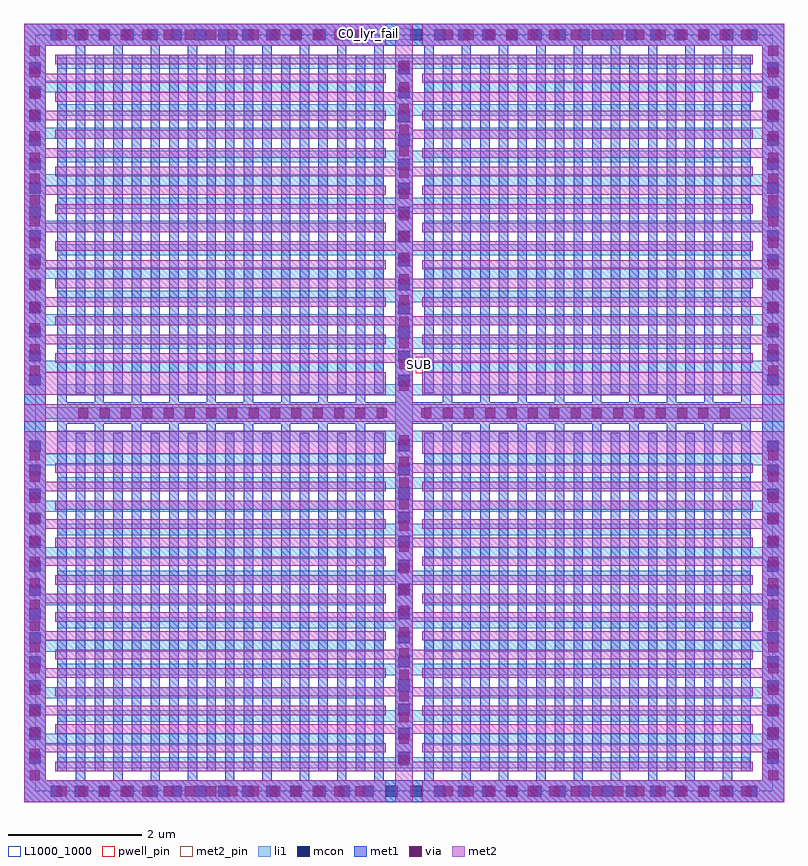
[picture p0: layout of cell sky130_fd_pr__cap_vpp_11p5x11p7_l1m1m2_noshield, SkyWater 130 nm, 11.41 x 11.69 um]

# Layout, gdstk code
import gdstk
lib = gdstk.Library(unit=1e-6, precision=1e-09)
def R(c, l, rs):  # rectangles x0, y0, x1, y1
    for r in rs: c.add(gdstk.rectangle(r[:2], r[2:], *l))
def A(c, l, x, y, w, h, nx, ny, dx, dy):  # array of equal rectangles
    R(c, l, [(x+i*dx, y+j*dy, x+i*dx+w, y+j*dy+h) for i in range(nx) for j in range(ny)])
def P(c, l, *ps):  # polygons
    for p in ps: c.add(gdstk.Polygon(p, *l))
li1 = (67, 20)
mcon = (67, 44)
met1 = (68, 20)
via = (68, 44)
met2_pin = (69, 16)
met2 = (69, 20)
pwell_pin = (122, 16)
L1000_1000 = (1000, 1000)

sky130_fd_pr__cap_vpp_11 = lib.new_cell('sky130_fd_pr__cap_vpp_11p5x11p7_l1m1m2_noshield')
P(sky130_fd_pr__cap_vpp_11, li1, [(0.5,0.51),(0.5,0.68),(5.57,0.68),(5.57,1.21),(0.5,1.21),(0.5,1.38),(5.57,1.38),(5.57,1.91),(0.5,1.91),(0.5,2.08),(5.57,2.08),(5.57,2.61),(0.5,2.61),(0.5,2.78),(5.57,2.78),(5.57,3.31),(0.5,3.31),(0.5,3.48),(5.57,3.48),(5.57,4.01),(0.5,4.01),(0.5,4.18),(5.57,4.18),(5.57,4.71),(0.5,4.71),(0.5,4.88),(5.57,4.88),(5.57,5.41),(0.5,5.41),(0.5,5.58),(5.57,5.58),(5.57,6.11),(0.5,6.11),(0.5,6.28),(5.57,6.28),(5.57,6.81),(0.5,6.81),(0.5,6.98),(5.57,6.98),(5.57,7.51),(0.5,7.51),(0.5,7.68),(5.57,7.68),(5.57,8.21),(0.5,8.21),(0.5,8.38),(5.57,8.38),(5.57,8.91),(0.5,8.91),(0.5,9.08),(5.57,9.08),(5.57,9.61),(0.5,9.61),(0.5,9.78),(5.57,9.78),(5.57,10.31),(0.5,10.31),(0.5,10.48),(5.57,10.48),(5.57,11.01),(0.5,11.01),(0.5,11.18),(10.905,11.18),(10.905,11.01),(5.84,11.01),(5.84,10.48),(10.905,10.48),(10.905,10.31),(5.84,10.31),(5.84,9.78),(10.905,9.78),(10.905,9.61),(5.84,9.61),(5.84,9.08),(10.905,9.08),(10.905,8.91),(5.84,8.91),(5.84,8.38),(10.905,8.38),(10.905,8.21),(5.84,8.21),(5.84,7.68),(10.905,7.68),(10.905,7.51),(5.84,7.51),(5.84,6.98),(10.905,6.98),(10.905,6.81),(5.84,6.81),(5.84,6.28),(10.905,6.28),(10.905,6.11),(5.84,6.11),(5.84,5.58),(10.905,5.58),(10.905,5.41),(5.84,5.41),(5.84,4.88),(10.905,4.88),(10.905,4.71),(5.84,4.71),(5.84,4.18),(10.905,4.18),(10.905,4.01),(5.84,4.01),(5.84,3.48),(10.905,3.48),(10.905,3.31),(5.84,3.31),(5.84,2.78),(10.905,2.78),(10.905,2.61),(5.84,2.61),(5.84,2.08),(10.905,2.08),(10.905,1.91),(5.84,1.91),(5.84,1.38),(10.905,1.38),(10.905,1.21),(5.84,1.21),(5.84,0.68),(10.905,0.68),(10.905,0.51)],
  [(0,0),(0,11.69),(11.08,11.69),(11.08,11.36),(0.33,11.36),(0.33,10.83),(5.4,10.83),(5.4,10.66),(0.33,10.66),(0.33,10.13),(5.4,10.13),(5.4,9.96),(0.33,9.96),(0.33,9.43),(5.4,9.43),(5.4,9.26),(0.33,9.26),(0.33,8.73),(5.4,8.73),(5.4,8.56),(0.33,8.56),(0.33,8.03),(5.4,8.03),(5.4,7.86),(0.33,7.86),(0.33,7.33),(5.4,7.33),(5.4,7.16),(0.33,7.16),(0.33,6.63),(5.4,6.63),(5.4,6.46),(0.33,6.46),(0.33,5.93),(5.4,5.93),(5.4,5.76),(0.33,5.76),(0.33,5.23),(5.4,5.23),(5.4,5.06),(0.33,5.06),(0.33,4.53),(5.4,4.53),(5.4,4.36),(0.33,4.36),(0.33,3.83),(5.4,3.83),(5.4,3.66),(0.33,3.66),(0.33,3.13),(5.4,3.13),(5.4,2.96),(0.33,2.96),(0.33,2.43),(5.4,2.43),(5.4,2.26),(0.33,2.26),(0.33,1.73),(5.4,1.73),(5.4,1.56),(0.33,1.56),(0.33,1.03),(5.4,1.03),(5.4,0.86),(0.33,0.86),(0.33,0.33),(11.08,0.33),(11.08,0.86),(6.01,0.86),(6.01,1.03),(11.08,1.03),(11.08,1.56),(6.01,1.56),(6.01,1.73),(11.08,1.73),(11.08,2.26),(6.01,2.26),(6.01,2.43),(11.08,2.43),(11.08,2.96),(6.01,2.96),(6.01,3.13),(11.08,3.13),(11.08,3.66),(6.01,3.66),(6.01,3.83),(11.08,3.83),(11.08,4.36),(6.01,4.36),(6.01,4.53),(11.08,4.53),(11.08,5.06),(6.01,5.06),(6.01,5.23),(11.08,5.23),(11.08,5.76),(6.01,5.76),(6.01,5.93),(11.08,5.93),(11.08,6.46),(6.01,6.46),(6.01,6.63),(11.08,6.63),(11.08,7.16),(6.01,7.16),(6.01,7.33),(11.08,7.33),(11.08,7.86),(6.01,7.86),(6.01,8.03),(11.08,8.03),(11.08,8.56),(6.01,8.56),(6.01,8.73),(11.08,8.73),(11.08,9.26),(6.01,9.26),(6.01,9.43),(11.08,9.43),(11.08,9.96),(6.01,9.96),(6.01,10.13),(11.08,10.13),(11.08,10.66),(6.01,10.66),(6.01,10.83),(11.08,10.83),(11.08,11.69),(11.41,11.69),(11.41,0)])
A(sky130_fd_pr__cap_vpp_11, mcon, 0.4, 0.08, 0.17, 0.17, 30, 2, 0.36, 11.36)
A(sky130_fd_pr__cap_vpp_11, mcon, 0.08, 0.58, 0.17, 0.17, 1, 14, 0, 0.36)
A(sky130_fd_pr__cap_vpp_11, mcon, 11.16, 0.58, 0.17, 0.17, 1, 14, 0, 0.36)
A(sky130_fd_pr__cap_vpp_11, mcon, 5.62, 0.59, 0.17, 0.17, 1, 14, 0, 0.36)
A(sky130_fd_pr__cap_vpp_11, mcon, 5.62, 6.25, 0.17, 0.17, 1, 14, 0, 0.36)
A(sky130_fd_pr__cap_vpp_11, mcon, 0.08, 6.26, 0.17, 0.17, 1, 14, 0, 0.36)
A(sky130_fd_pr__cap_vpp_11, mcon, 11.16, 6.26, 0.17, 0.17, 1, 14, 0, 0.36)
P(sky130_fd_pr__cap_vpp_11, met1, [(0.5,0.47),(0.5,11.22),(0.64,11.22),(0.64,6.005),(1.06,6.005),(1.06,11.22),(1.2,11.22),(1.2,6.005),(1.62,6.005),(1.62,11.22),(1.76,11.22),(1.76,6.005),(2.18,6.005),(2.18,11.22),(2.32,11.22),(2.32,6.005),(2.74,6.005),(2.74,11.22),(2.88,11.22),(2.88,6.005),(3.3,6.005),(3.3,11.22),(3.44,11.22),(3.44,6.005),(3.86,6.005),(3.86,11.22),(4,11.22),(4,6.005),(4.42,6.005),(4.42,11.22),(4.56,11.22),(4.56,6.005),(4.98,6.005),(4.98,11.22),(5.12,11.22),(5.12,6.005),(5.57,6.005),(5.57,11.22),(5.84,11.22),(5.84,6.005),(6.29,6.005),(6.29,11.22),(6.43,11.22),(6.43,6.005),(6.85,6.005),(6.85,11.22),(6.99,11.22),(6.99,6.005),(7.41,6.005),(7.41,11.22),(7.55,11.22),(7.55,6.005),(7.97,6.005),(7.97,11.22),(8.11,11.22),(8.11,6.005),(8.53,6.005),(8.53,11.22),(8.67,11.22),(8.67,6.005),(9.09,6.005),(9.09,11.22),(9.23,11.22),(9.23,6.005),(9.65,6.005),(9.65,11.22),(9.79,11.22),(9.79,6.005),(10.21,6.005),(10.21,11.22),(10.35,11.22),(10.35,6.005),(10.77,6.005),(10.77,11.22),(10.91,11.22),(10.91,0.47),(10.77,0.47),(10.77,5.685),(10.35,5.685),(10.35,0.47),(10.21,0.47),(10.21,5.685),(9.79,5.685),(9.79,0.47),(9.65,0.47),(9.65,5.685),(9.23,5.685),(9.23,0.47),(9.09,0.47),(9.09,5.685),(8.67,5.685),(8.67,0.47),(8.53,0.47),(8.53,5.685),(8.11,5.685),(8.11,0.47),(7.97,0.47),(7.97,5.685),(7.55,5.685),(7.55,0.47),(7.41,0.47),(7.41,5.685),(6.99,5.685),(6.99,0.47),(6.85,0.47),(6.85,5.685),(6.43,5.685),(6.43,0.47),(6.29,0.47),(6.29,5.685),(5.84,5.685),(5.84,0.47),(5.57,0.47),(5.57,5.685),(5.12,5.685),(5.12,0.47),(4.98,0.47),(4.98,5.685),(4.56,5.685),(4.56,0.47),(4.42,0.47),(4.42,5.685),(4,5.685),(4,0.47),(3.86,0.47),(3.86,5.685),(3.44,5.685),(3.44,0.47),(3.3,0.47),(3.3,5.685),(2.88,5.685),(2.88,0.47),(2.74,0.47),(2.74,5.685),(2.32,5.685),(2.32,0.47),(2.18,0.47),(2.18,5.685),(1.76,5.685),(1.76,0.47),(1.62,0.47),(1.62,5.685),(1.2,5.685),(1.2,0.47),(1.06,0.47),(1.06,5.685),(0.64,5.685),(0.64,0.47)],
  [(0,0),(0,11.69),(11.08,11.69),(11.08,11.36),(10.63,11.36),(10.63,6.145),(10.49,6.145),(10.49,11.36),(10.07,11.36),(10.07,6.145),(9.93,6.145),(9.93,11.36),(9.51,11.36),(9.51,6.145),(9.37,6.145),(9.37,11.36),(8.95,11.36),(8.95,6.145),(8.81,6.145),(8.81,11.36),(8.39,11.36),(8.39,6.145),(8.25,6.145),(8.25,11.36),(7.83,11.36),(7.83,6.145),(7.69,6.145),(7.69,11.36),(7.27,11.36),(7.27,6.145),(7.13,6.145),(7.13,11.36),(6.71,11.36),(6.71,6.145),(6.57,6.145),(6.57,11.36),(6.15,11.36),(6.15,6.145),(6.01,6.145),(6.01,11.36),(5.4,11.36),(5.4,6.145),(5.26,6.145),(5.26,11.36),(4.84,11.36),(4.84,6.145),(4.7,6.145),(4.7,11.36),(4.28,11.36),(4.28,6.145),(4.14,6.145),(4.14,11.36),(3.72,11.36),(3.72,6.145),(3.58,6.145),(3.58,11.36),(3.16,11.36),(3.16,6.145),(3.02,6.145),(3.02,11.36),(2.6,11.36),(2.6,6.145),(2.46,6.145),(2.46,11.36),(2.04,11.36),(2.04,6.145),(1.9,6.145),(1.9,11.36),(1.48,11.36),(1.48,6.145),(1.34,6.145),(1.34,11.36),(0.92,11.36),(0.92,6.145),(0.78,6.145),(0.78,11.36),(0.33,11.36),(0.33,0.33),(0.78,0.33),(0.78,5.545),(0.92,5.545),(0.92,0.33),(1.34,0.33),(1.34,5.545),(1.48,5.545),(1.48,0.33),(1.9,0.33),(1.9,5.545),(2.04,5.545),(2.04,0.33),(2.46,0.33),(2.46,5.545),(2.6,5.545),(2.6,0.33),(3.02,0.33),(3.02,5.545),(3.16,5.545),(3.16,0.33),(3.58,0.33),(3.58,5.545),(3.72,5.545),(3.72,0.33),(4.14,0.33),(4.14,5.545),(4.28,5.545),(4.28,0.33),(4.7,0.33),(4.7,5.545),(4.84,5.545),(4.84,0.33),(5.26,0.33),(5.26,5.545),(5.4,5.545),(5.4,0.33),(6.01,0.33),(6.01,5.545),(6.15,5.545),(6.15,0.33),(6.57,0.33),(6.57,5.545),(6.71,5.545),(6.71,0.33),(7.13,0.33),(7.13,5.545),(7.27,5.545),(7.27,0.33),(7.69,0.33),(7.69,5.545),(7.83,5.545),(7.83,0.33),(8.25,0.33),(8.25,5.545),(8.39,5.545),(8.39,0.33),(8.81,0.33),(8.81,5.545),(8.95,5.545),(8.95,0.33),(9.37,0.33),(9.37,5.545),(9.51,5.545),(9.51,0.33),(9.93,0.33),(9.93,5.545),(10.07,5.545),(10.07,0.33),(10.49,0.33),(10.49,5.545),(10.63,5.545),(10.63,0.33),(11.08,0.33),(11.08,11.69),(11.41,11.69),(11.41,0)])
A(sky130_fd_pr__cap_vpp_11, via, 4.015, 0.09, 0.15, 0.15, 1, 3, 0, 5.68)
A(sky130_fd_pr__cap_vpp_11, via, 7.245, 0.09, 0.15, 0.15, 1, 3, 0, 5.68)
A(sky130_fd_pr__cap_vpp_11, via, 0.09, 0.335, 0.15, 0.15, 1, 16, 0, 0.32)
A(sky130_fd_pr__cap_vpp_11, via, 11.17, 0.335, 0.15, 0.15, 1, 16, 0, 0.32)
A(sky130_fd_pr__cap_vpp_11, via, 5.63, 0.56, 0.15, 0.15, 1, 16, 0, 0.32)
A(sky130_fd_pr__cap_vpp_11, via, 0.815, 5.77, 0.15, 0.15, 11, 1, 0.32, 0)
A(sky130_fd_pr__cap_vpp_11, via, 7.245, 5.77, 0.15, 0.15, 11, 1, 0.32, 0)
A(sky130_fd_pr__cap_vpp_11, via, 5.63, 6.18, 0.15, 0.15, 1, 16, 0, 0.32)
A(sky130_fd_pr__cap_vpp_11, via, 0.09, 6.405, 0.15, 0.15, 1, 16, 0, 0.32)
A(sky130_fd_pr__cap_vpp_11, via, 11.17, 6.405, 0.15, 0.15, 1, 16, 0, 0.32)
R(sky130_fd_pr__cap_vpp_11, via, [(0.495,0.09,0.645,0.24), (0.495,0.09,0.645,0.24), (0.815,0.09,0.965,0.24), (0.815,0.09,0.965,0.24), (1.135,0.09,1.285,0.24), (1.135,0.09,1.285,0.24), (1.455,0.09,1.605,0.24), (1.455,0.09,1.605,0.24), (1.775,0.09,1.925,0.24), (1.775,0.09,1.925,0.24), (2.095,0.09,2.245,0.24), (2.095,0.09,2.245,0.24), (2.415,0.09,2.565,0.24), (2.415,0.09,2.565,0.24), (2.735,0.09,2.885,0.24), (2.735,0.09,2.885,0.24), (3.055,0.09,3.205,0.24), (3.055,0.09,3.205,0.24), (3.375,0.09,3.525,0.24), (3.375,0.09,3.525,0.24), (3.695,0.09,3.845,0.24), (3.695,0.09,3.845,0.24), (4.015,0.09,4.165,0.24), (4.335,0.09,4.485,0.24), (4.335,0.09,4.485,0.24), (4.655,0.09,4.805,0.24), (4.655,0.09,4.805,0.24), (4.975,0.09,5.125,0.24), (4.975,0.09,5.125,0.24), (6.285,0.09,6.435,0.24), (6.285,0.09,6.435,0.24), (6.605,0.09,6.755,0.24), (6.605,0.09,6.755,0.24), (6.925,0.09,7.075,0.24), (6.925,0.09,7.075,0.24), (7.245,0.09,7.395,0.24), (7.565,0.09,7.715,0.24), (7.565,0.09,7.715,0.24), (7.885,0.09,8.035,0.24), (7.885,0.09,8.035,0.24), (8.205,0.09,8.355,0.24), (8.205,0.09,8.355,0.24), (8.525,0.09,8.675,0.24), (8.525,0.09,8.675,0.24), (8.845,0.09,8.995,0.24), (8.845,0.09,8.995,0.24), (9.165,0.09,9.315,0.24), (9.165,0.09,9.315,0.24), (9.485,0.09,9.635,0.24), (9.485,0.09,9.635,0.24), (9.805,0.09,9.955,0.24), (9.805,0.09,9.955,0.24), (10.125,0.09,10.275,0.24), (10.125,0.09,10.275,0.24), (10.445,0.09,10.595,0.24), (10.445,0.09,10.595,0.24), (10.765,0.09,10.915,0.24), (10.765,0.09,10.915,0.24), (4.335,5.77,4.485,5.92), (4.335,5.77,4.485,5.92), (4.655,5.77,4.805,5.92), (4.655,5.77,4.805,5.92), (4.975,5.77,5.125,5.92), (4.975,5.77,5.125,5.92), (5.295,5.77,5.445,5.92), (5.295,5.77,5.445,5.92), (5.965,5.77,6.115,5.92), (5.965,5.77,6.115,5.92), (6.285,5.77,6.435,5.92), (6.285,5.77,6.435,5.92), (6.605,5.77,6.755,5.92), (6.605,5.77,6.755,5.92), (6.925,5.77,7.075,5.92), (6.925,5.77,7.075,5.92), (0.495,11.45,0.645,11.6), (0.495,11.45,0.645,11.6), (0.815,11.45,0.965,11.6), (0.815,11.45,0.965,11.6), (1.135,11.45,1.285,11.6), (1.135,11.45,1.285,11.6), (1.455,11.45,1.605,11.6), (1.455,11.45,1.605,11.6), (1.775,11.45,1.925,11.6), (1.775,11.45,1.925,11.6), (2.095,11.45,2.245,11.6), (2.095,11.45,2.245,11.6), (2.415,11.45,2.565,11.6), (2.415,11.45,2.565,11.6), (2.735,11.45,2.885,11.6), (2.735,11.45,2.885,11.6), (3.055,11.45,3.205,11.6), (3.055,11.45,3.205,11.6), (3.375,11.45,3.525,11.6), (3.375,11.45,3.525,11.6), (3.695,11.45,3.845,11.6), (3.695,11.45,3.845,11.6), (4.015,11.45,4.165,11.6), (4.335,11.45,4.485,11.6), (4.335,11.45,4.485,11.6), (4.655,11.45,4.805,11.6), (4.655,11.45,4.805,11.6), (4.975,11.45,5.125,11.6), (4.975,11.45,5.125,11.6), (6.285,11.45,6.435,11.6), (6.285,11.45,6.435,11.6), (6.605,11.45,6.755,11.6), (6.605,11.45,6.755,11.6), (6.925,11.45,7.075,11.6), (6.925,11.45,7.075,11.6), (7.245,11.45,7.395,11.6), (7.565,11.45,7.715,11.6), (7.565,11.45,7.715,11.6), (7.885,11.45,8.035,11.6), (7.885,11.45,8.035,11.6), (8.205,11.45,8.355,11.6), (8.205,11.45,8.355,11.6), (8.525,11.45,8.675,11.6), (8.525,11.45,8.675,11.6), (8.845,11.45,8.995,11.6), (8.845,11.45,8.995,11.6), (9.165,11.45,9.315,11.6), (9.165,11.45,9.315,11.6), (9.485,11.45,9.635,11.6), (9.485,11.45,9.635,11.6), (9.805,11.45,9.955,11.6), (9.805,11.45,9.955,11.6), (10.125,11.45,10.275,11.6), (10.125,11.45,10.275,11.6), (10.445,11.45,10.595,11.6), (10.445,11.45,10.595,11.6), (10.765,11.45,10.915,11.6), (10.765,11.45,10.915,11.6)])
R(sky130_fd_pr__cap_vpp_11, met2_pin, [(5.605,11.445,5.815,11.625), (5.095,11.465,5.245,11.605)])
P(sky130_fd_pr__cap_vpp_11, met2, [(0,6.12),(0,11.69),(5.43,11.69),(5.43,11.36),(0.33,11.36),(0.33,10.94),(5.43,10.94),(5.43,10.8),(0.33,10.8),(0.33,10.38),(5.43,10.38),(5.43,10.24),(0.33,10.24),(0.33,9.82),(5.43,9.82),(5.43,9.68),(0.33,9.68),(0.33,9.26),(5.43,9.26),(5.43,9.12),(0.33,9.12),(0.33,8.7),(5.43,8.7),(5.43,8.56),(0.33,8.56),(0.33,8.14),(5.43,8.14),(5.43,8),(0.33,8),(0.33,7.58),(5.43,7.58),(5.43,7.44),(0.33,7.44),(0.33,7.02),(5.43,7.02),(5.43,6.88),(0.33,6.88),(0.33,6.46),(5.43,6.46),(5.43,6.12)],
  [(0,0),(0,5.57),(5.43,5.57),(5.43,5.23),(0.33,5.23),(0.33,4.81),(5.43,4.81),(5.43,4.67),(0.33,4.67),(0.33,4.25),(5.43,4.25),(5.43,4.11),(0.33,4.11),(0.33,3.69),(5.43,3.69),(5.43,3.55),(0.33,3.55),(0.33,3.13),(5.43,3.13),(5.43,2.99),(0.33,2.99),(0.33,2.57),(5.43,2.57),(5.43,2.43),(0.33,2.43),(0.33,2.01),(5.43,2.01),(5.43,1.87),(0.33,1.87),(0.33,1.45),(5.43,1.45),(5.43,1.31),(0.33,1.31),(0.33,0.89),(5.43,0.89),(5.43,0.75),(0.33,0.75),(0.33,0.33),(5.43,0.33),(5.43,0)],
  [(5.98,6.12),(5.98,6.46),(11.08,6.46),(11.08,6.88),(5.98,6.88),(5.98,7.02),(11.08,7.02),(11.08,7.44),(5.98,7.44),(5.98,7.58),(11.08,7.58),(11.08,8),(5.98,8),(5.98,8.14),(11.08,8.14),(11.08,8.56),(5.98,8.56),(5.98,8.7),(11.08,8.7),(11.08,9.12),(5.98,9.12),(5.98,9.26),(11.08,9.26),(11.08,9.68),(5.98,9.68),(5.98,9.82),(11.08,9.82),(11.08,10.24),(5.98,10.24),(5.98,10.38),(11.08,10.38),(11.08,10.8),(5.98,10.8),(5.98,10.94),(11.08,10.94),(11.08,11.36),(5.98,11.36),(5.98,11.69),(11.41,11.69),(11.41,6.12)],
  [(5.57,0),(5.57,0.47),(0.47,0.47),(0.47,0.61),(5.57,0.61),(5.57,1.03),(0.47,1.03),(0.47,1.17),(5.57,1.17),(5.57,1.59),(0.47,1.59),(0.47,1.73),(5.57,1.73),(5.57,2.15),(0.47,2.15),(0.47,2.29),(5.57,2.29),(5.57,2.71),(0.47,2.71),(0.47,2.85),(5.57,2.85),(5.57,3.27),(0.47,3.27),(0.47,3.41),(5.57,3.41),(5.57,3.83),(0.47,3.83),(0.47,3.97),(5.57,3.97),(5.57,4.39),(0.47,4.39),(0.47,4.53),(5.57,4.53),(5.57,4.95),(0.47,4.95),(0.47,5.09),(5.57,5.09),(5.57,5.71),(0,5.71),(0,5.98),(5.57,5.98),(5.57,6.6),(0.47,6.6),(0.47,6.74),(5.57,6.74),(5.57,7.16),(0.47,7.16),(0.47,7.3),(5.57,7.3),(5.57,7.72),(0.47,7.72),(0.47,7.86),(5.57,7.86),(5.57,8.28),(0.47,8.28),(0.47,8.42),(5.57,8.42),(5.57,8.84),(0.47,8.84),(0.47,8.98),(5.57,8.98),(5.57,9.4),(0.47,9.4),(0.47,9.54),(5.57,9.54),(5.57,9.96),(0.47,9.96),(0.47,10.1),(5.57,10.1),(5.57,10.52),(0.47,10.52),(0.47,10.66),(5.57,10.66),(5.57,11.08),(0.47,11.08),(0.47,11.22),(5.57,11.22),(5.57,11.69),(5.84,11.69),(5.84,11.22),(10.94,11.22),(10.94,11.08),(5.84,11.08),(5.84,10.66),(10.94,10.66),(10.94,10.52),(5.84,10.52),(5.84,10.1),(10.94,10.1),(10.94,9.96),(5.84,9.96),(5.84,9.54),(10.94,9.54),(10.94,9.4),(5.84,9.4),(5.84,8.98),(10.94,8.98),(10.94,8.84),(5.84,8.84),(5.84,8.42),(10.94,8.42),(10.94,8.28),(5.84,8.28),(5.84,7.86),(10.94,7.86),(10.94,7.72),(5.84,7.72),(5.84,7.3),(10.94,7.3),(10.94,7.16),(5.84,7.16),(5.84,6.74),(10.94,6.74),(10.94,6.6),(5.84,6.6),(5.84,5.98),(11.41,5.98),(11.41,5.71),(5.84,5.71),(5.84,5.09),(10.94,5.09),(10.94,4.95),(5.84,4.95),(5.84,4.53),(10.94,4.53),(10.94,4.39),(5.84,4.39),(5.84,3.97),(10.94,3.97),(10.94,3.83),(5.84,3.83),(5.84,3.41),(10.94,3.41),(10.94,3.27),(5.84,3.27),(5.84,2.85),(10.94,2.85),(10.94,2.71),(5.84,2.71),(5.84,2.29),(10.94,2.29),(10.94,2.15),(5.84,2.15),(5.84,1.73),(10.94,1.73),(10.94,1.59),(5.84,1.59),(5.84,1.17),(10.94,1.17),(10.94,1.03),(5.84,1.03),(5.84,0.61),(10.94,0.61),(10.94,0.47),(5.84,0.47),(5.84,0)],
  [(5.98,0),(5.98,0.33),(11.08,0.33),(11.08,0.75),(5.98,0.75),(5.98,0.89),(11.08,0.89),(11.08,1.31),(5.98,1.31),(5.98,1.45),(11.08,1.45),(11.08,1.87),(5.98,1.87),(5.98,2.01),(11.08,2.01),(11.08,2.43),(5.98,2.43),(5.98,2.57),(11.08,2.57),(11.08,2.99),(5.98,2.99),(5.98,3.13),(11.08,3.13),(11.08,3.55),(5.98,3.55),(5.98,3.69),(11.08,3.69),(11.08,4.11),(5.98,4.11),(5.98,4.25),(11.08,4.25),(11.08,4.67),(5.98,4.67),(5.98,4.81),(11.08,4.81),(11.08,5.23),(5.98,5.23),(5.98,5.57),(11.41,5.57),(11.41,0)])
R(sky130_fd_pr__cap_vpp_11, pwell_pin, [(5.88,6.445,5.985,6.69)])
R(sky130_fd_pr__cap_vpp_11, L1000_1000, [(0.17,0.17,11.24,11.52)])
sky130_fd_pr__cap_vpp_11.add(gdstk.Label('C0_lyr_fail', (5.17,11.535), layer=69, texttype=5))
sky130_fd_pr__cap_vpp_11.add(gdstk.Label('C1_lyr_fail', (5.71,11.535), layer=69, texttype=5))
sky130_fd_pr__cap_vpp_11.add(gdstk.Label('SUB', (5.935,6.57), layer=64, texttype=59))

lib.write_gds('sky130_fd_pr__cap_vpp_11p5x11p7_l1m1m2_noshield.gds')
